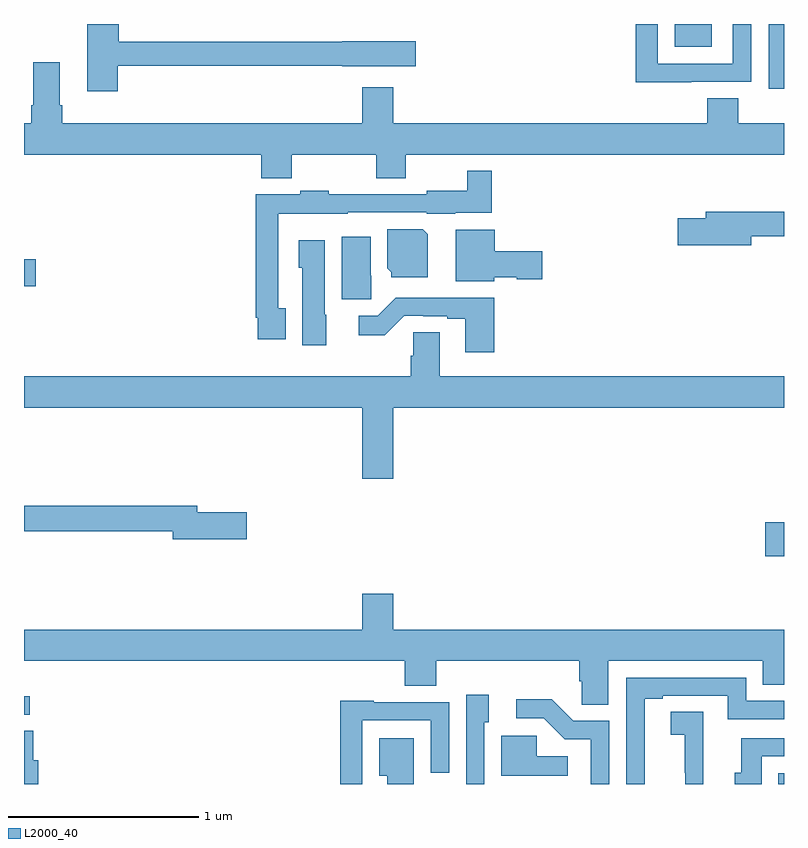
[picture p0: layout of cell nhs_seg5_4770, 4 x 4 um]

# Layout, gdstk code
import gdstk
lib = gdstk.Library(unit=1e-6, precision=1e-09)
def R(c, l, rs):  # rectangles x0, y0, x1, y1
    for r in rs: c.add(gdstk.rectangle(r[:2], r[2:], *l))
def P(c, l, *ps):  # polygons
    for p in ps: c.add(gdstk.Polygon(p, *l))
L2000_40 = (2000, 40)

nhs_seg5_4770 = lib.new_cell('nhs_seg5_4770')
R(nhs_seg5_4770, L2000_40, [(394.971,834.799,395,834.855), (391,835.164,391.03,835.26), (394.902,835.999,395,836.177), (391,837.418,391.063,837.56), (394.92,838.458,395,838.799), (394.424,838.679,394.621,838.799)])
P(nhs_seg5_4770, L2000_40, [(394.511,838.494),(394.827,838.494),(394.827,838.799),(394.731,838.799),(394.731,838.59),(394.335,838.59),(394.335,838.799),(394.219,838.799),(394.219,838.493),(394.511,838.493)],
  [(391.493,838.578),(392.676,838.578),(392.676,838.577),(393.061,838.577),(393.061,838.707),(392.676,838.707),(392.676,838.706),(391.498,838.706),(391.498,838.799),(391.334,838.799),(391.334,838.446),(391.493,838.446)],
  [(392.409,838.112),(392.854,838.112),(392.854,837.988),(393.009,837.988),(393.009,838.112),(395,838.112),(395,838.276),(394.76,838.276),(394.76,838.409),(394.595,838.409),(394.595,838.276),(392.944,838.276),(392.944,838.465),(392.78,838.465),(392.78,838.276),(391.202,838.276),(391.202,838.372),(391.189,838.372),(391.189,838.597),(391.049,838.597),(391.049,838.372),(391.037,838.372),(391.037,838.276),(391,838.276),(391,838.112),(392.249,838.112),(392.249,837.988),(392.409,837.988)],
  [(392.377,837.302),(392.337,837.302),(392.337,837.8),(392.703,837.8),(392.703,837.807),(393.12,837.807),(393.12,837.8),(393.27,837.8),(393.27,837.806),(393.461,837.806),(393.461,838.027),(393.333,838.027),(393.333,837.922),(393.12,837.922),(393.12,837.903),(392.604,837.903),(392.604,837.921),(392.454,837.921),(392.454,837.903),(392.221,837.903),(392.221,837.253),(392.229,837.253),(392.229,837.141),(392.377,837.141)],
  [(394.828,837.682),(395,837.682),(395,837.811),(394.589,837.811),(394.589,837.777),(394.44,837.777),(394.44,837.635),(394.828,837.635)],
  [(393.124,837.692),(393.098,837.718),(392.912,837.718),(392.912,837.514),(392.934,837.492),(392.934,837.467),(393.124,837.467)],
  [(393.474,837.467),(393.594,837.467),(393.594,837.455),(393.727,837.455),(393.727,837.602),(393.478,837.602),(393.478,837.716),(393.272,837.716),(393.272,837.446),(393.474,837.446)],
  [(392.828,837.474),(392.824,837.474),(392.824,837.679),(392.672,837.679),(392.672,837.351),(392.828,837.351)],
  [(392.59,837.27),(392.584,837.27),(392.584,837.661),(392.447,837.661),(392.447,837.516),(392.465,837.516),(392.465,837.108),(392.59,837.108)],
  [(393.476,837.358),(392.956,837.358),(392.862,837.264),(392.763,837.264),(392.763,837.162),(392.898,837.162),(393,837.264),(393.1,837.264),(393.1,837.261),(393.227,837.261),(393.227,837.249),(393.323,837.249),(393.323,837.072),(393.476,837.072)],
  [(392.944,836.78),(395,836.78),(395,836.944),(393.187,836.944),(393.187,837.176),(393.048,837.176),(393.048,837.054),(393.035,837.054),(393.035,836.944),(391,836.944),(391,836.78),(392.78,836.78),(392.78,836.406),(392.944,836.406)],
  [(392.173,836.228),(391.912,836.228),(391.912,836.264),(391,836.264),(391,836.128),(391.784,836.128),(391.784,836.086),(392.173,836.086)],
  [(394.075,835.448),(394.889,835.448),(394.889,835.321),(395,835.321),(395,835.612),(392.944,835.612),(392.944,835.801),(392.78,835.801),(392.78,835.612),(391,835.612),(391,835.448),(393.005,835.448),(393.005,835.315),(393.17,835.315),(393.17,835.448),(393.923,835.448),(393.923,835.339),(393.936,835.339),(393.936,835.216),(394.075,835.216)],
  [(394.267,835.248),(394.363,835.248),(394.363,835.263),(394.704,835.263),(394.704,835.14),(395,835.14),(395,835.236),(394.8,835.236),(394.8,835.359),(394.17,835.359),(394.17,834.799),(394.267,834.799)],
  [(393.423,835.125),(393.445,835.125),(393.445,835.27),(393.327,835.27),(393.327,834.799),(393.423,834.799)],
  [(394.08,835.131),(393.891,835.131),(393.778,835.244),(393.591,835.244),(393.591,835.146),(393.735,835.146),(393.846,835.035),(393.984,835.035),(393.984,834.799),(394.08,834.799)],
  [(392.781,835.134),(393.141,835.134),(393.141,834.858),(393.237,834.858),(393.237,835.23),(392.841,835.23),(392.841,835.237),(392.665,835.237),(392.665,834.799),(392.781,834.799)],
  [(394.576,835.067),(394.574,835.067),(394.574,835.178),(394.404,835.178),(394.404,835.057),(394.478,835.057),(394.478,834.859),(394.479,834.859),(394.479,834.799),(394.576,834.799)],
  [(391.075,834.925),(391.049,834.925),(391.049,835.079),(391,835.079),(391,834.799),(391.075,834.799)],
  [(393.862,834.946),(393.699,834.946),(393.699,835.053),(393.512,835.053),(393.512,834.842),(393.862,834.842)],
  [(394.882,834.945),(395,834.945),(395,835.041),(394.775,835.041),(394.775,834.858),(394.742,834.858),(394.742,834.799),(394.882,834.799)],
  [(393.052,835.039),(392.87,835.039),(392.87,834.842),(392.912,834.842),(392.912,834.799),(393.052,834.799)])

lib.write_gds('nhs_seg5_4770.gds')
